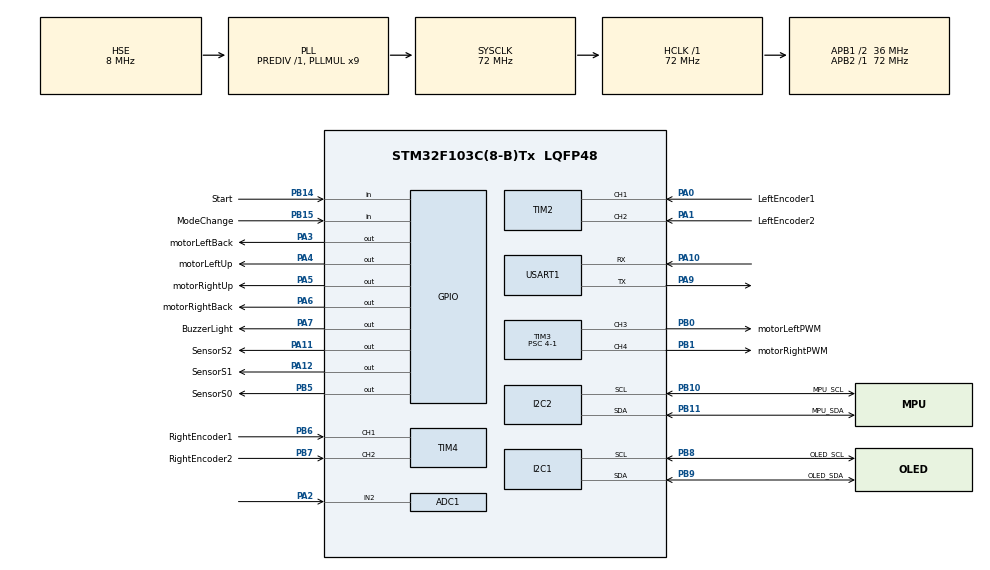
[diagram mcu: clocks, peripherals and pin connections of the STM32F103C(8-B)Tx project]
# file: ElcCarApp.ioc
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ADC1.Channel-1\#ChannelRegularConversion=ADC_CHANNEL_2
ADC1.NbrOfConversionFlag=1
ADC1.Rank-1\#ChannelRegularConversion=1
ADC1.SamplingTime-1\#ChannelRegularConversion=ADC_SAMPLETIME_71CYCLES_5
ADC1.master=1
Mcu.Family=STM32F1
Mcu.Name=STM32F103C(8-B)Tx
Mcu.Package=LQFP48
NVIC.PriorityGroup=NVIC_PRIORITYGROUP_4
NVIC.TIM3_IRQn=true\:0\:0\:false\:false\:true\:true\:true\:true
NVIC.USART1_IRQn=true\:1\:0\:false\:false\:true\:true\:true\:true
PA0-WKUP.GPIO_Label=LeftEncoder1
PA0-WKUP.Signal=S_TIM2_CH1_ETR
PA1.GPIO_Label=LeftEncoder2
PA1.Signal=S_TIM2_CH2
PA10.Mode=Asynchronous
PA10.Signal=USART1_RX
PA11.GPIO_Label=SensorS2
PA11.Signal=GPIO_Output
PA12.GPIO_Label=SensorS1
PA12.Signal=GPIO_Output
PA13.Mode=Serial_Wire
PA13.Signal=SYS_JTMS-SWDIO
PA14.Mode=Serial_Wire
PA14.Signal=SYS_JTCK-SWCLK
PA2.Signal=ADCx_IN2
PA3.GPIO_Label=motorLeftBack
PA3.Signal=GPIO_Output
PA4.GPIO_Label=motorLeftUp
PA4.Signal=GPIO_Output
PA5.GPIO_Label=motorRightUp
PA5.Signal=GPIO_Output
PA6.GPIO_Label=motorRightBack
PA6.Signal=GPIO_Output
PA7.GPIO_Label=BuzzerLight
PA7.PinState=GPIO_PIN_SET
PA7.Signal=GPIO_Output
PA9.Mode=Asynchronous
PA9.Signal=USART1_TX
PB0.GPIO_Label=motorLeftPWM
PB0.Signal=S_TIM3_CH3
PB1.GPIO_Label=motorRightPWM
PB1.Signal=S_TIM3_CH4
PB10.GPIO_Label=MPU_SCL
PB10.Mode=I2C
PB10.Signal=I2C2_SCL
PB11.GPIO_Label=MPU_SDA
PB11.Mode=I2C
PB11.Signal=I2C2_SDA
PB14.GPIO_Label=Start
PB14.GPIO_PuPd=GPIO_PULLUP
PB14.Signal=GPIO_Input
PB15.GPIO_Label=ModeChange
PB15.GPIO_PuPd=GPIO_PULLUP
PB15.Signal=GPIO_Input
PB5.GPIO_Label=SensorS0
PB5.Signal=GPIO_Output
PB6.GPIO_Label=RightEncoder1
PB6.Signal=S_TIM4_CH1
PB7.GPIO_Label=RightEncoder2
PB7.Signal=S_TIM4_CH2
PB8.GPIO_Label=OLED_SCL
PB8.Mode=I2C
PB8.Signal=I2C1_SCL
PB9.GPIO_Label=OLED_SDA
PB9.Mode=I2C
PB9.Signal=I2C1_SDA
PD0-OSC_IN.Mode=HSE-External-Oscillator
PD0-OSC_IN.Signal=RCC_OSC_IN
PD1-OSC_OUT.Mode=HSE-External-Oscillator
PD1-OSC_OUT.Signal=RCC_OSC_OUT
ProjectManager.HeapSize=0x200
ProjectManager.StackSize=0x1000
ProjectManager.TargetToolchain=MDK-ARM V5
RCC.ADCPresc=RCC_ADCPCLK2_DIV6
RCC.AHBFreq_Value=72000000
RCC.APB1CLKDivider=RCC_HCLK_DIV2
RCC.APB1Freq_Value=36000000
RCC.APB1TimFreq_Value=72000000
RCC.APB2Freq_Value=72000000
RCC.APB2TimFreq_Value=72000000
RCC.HCLKFreq_Value=72000000
RCC.PLLMUL=RCC_PLL_MUL9
RCC.PLLSourceVirtual=RCC_PLLSOURCE_HSE
RCC.SYSCLKFreq_VALUE=72000000
RCC.SYSCLKSource=RCC_SYSCLKSOURCE_PLLCLK
RCC.USBFreq_Value=72000000
SH.ADCx_IN2.0=ADC1_IN2,IN2
SH.S_TIM2_CH1_ETR.0=TIM2_CH1,Encoder_Interface
SH.S_TIM2_CH2.0=TIM2_CH2,Encoder_Interface
SH.S_TIM3_CH3.0=TIM3_CH3,PWM Generation3 CH3
SH.S_TIM3_CH4.0=TIM3_CH4,PWM Generation4 CH4
SH.S_TIM4_CH1.0=TIM4_CH1,Encoder_Interface
SH.S_TIM4_CH2.0=TIM4_CH2,Encoder_Interface
TIM2.EncoderMode=TIM_ENCODERMODE_TI12
TIM3.Channel-PWM\ Generation3\ CH3=TIM_CHANNEL_3
TIM3.Channel-PWM\ Generation4\ CH4=TIM_CHANNEL_4
TIM3.Period=999
TIM3.Prescaler=4-1
TIM4.EncoderMode=TIM_ENCODERMODE_TI12
USART1.VirtualMode=VM_ASYNC
VP_TIM3_VS_ClockSourceINT.Mode=Internal
board=custom

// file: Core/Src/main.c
/* USER CODE BEGIN Header */
/**
  ******************************************************************************
  * @file           : main.c
  * @brief          : Main program body
  ******************************************************************************
  * @attention
  *
  * Copyright (c) 2026 STMicroelectronics.
  * All rights reserved.
  *
  * This software is licensed under terms that can be found in the LICENSE file
  * in the root directory of this software component.
  * If no LICENSE file comes with this software, it is provided AS-IS.
  *
  ******************************************************************************
  */
/* USER CODE END Header */
#include "main.h"
#include "adc.h"
#include "i2c.h"
#include "tim.h"
#include "usart.h"
#include "gpio.h"

/* USER CODE BEGIN Includes */
#include "fsm.h"
#include "oled.h"
#include "string.h"
#include "control.h"
#include "autotune.h"
#include "serial_router.h"
#include "route_config.h"
#include <stdio.h>
#ifdef CAR_IMU_TEST
#include "imu_diagnostic.h"
#endif
#ifdef CAR_GROUND_TEST
#include "ground_test.h"
#include "line_follow.h"
#include "wheel_calibration.h"
#endif
/* USER CODE END Includes */

void SystemClock_Config(void);

/* USER CODE BEGIN 0 */
#ifdef CAR_IMU_TEST
static void Imu_Test_Run(void)
{
  uint32_t display_tick = 0u;
  Motor_Init(); Control_Stop(); OLED_Init();
  ImuDiagnostic_Init(&hi2c2);
  while (1) {
    ImuDiagnostic_Poll(&hi2c2);
    if (HAL_GetTick() - display_tick >= 200u) {
      char text[24];
      display_tick = HAL_GetTick();
      OLED_NewFrame();
      if (imu_diagnostic.state == 2u) snprintf(text, sizeof text, "IMU MOTOR LOCK");
      else snprintf(text, sizeof text, "IMU FAULT:%lu", (unsigned long)imu_diagnostic.error);
      OLED_PrintString(0, 0, text, &font16x16, OLED_COLOR_NORMAL);
      for (unsigned axis = 0; axis < 3u; ++axis) {
        snprintf(text, sizeof text, "%c:%+.1f DEG", (int)('X' + axis), (double)imu_diagnostic.angle[axis]);
        OLED_PrintString(0, (uint8_t)(16u * (axis + 1u)), text, &font16x16, OLED_COLOR_NORMAL);
      }
      OLED_ShowFrame();
    }
    OLED_Poll();
  }
}
#endif
#ifdef CAR_GROUND_TEST
static void Ground_Run(void)
{
  uint32_t display_tick = 0u;
  const char *labels[] = {"GROUND READY", "WAIT 3 SEC", "RUN STRAIGHT", "STOPPING", "DONE STOP", "CANCEL STOP", "FAULT STOP"};
  Motor_Init();
  OLED_Init();
  Ground_Init();
  Control_StartTimer();
  while (1) {
    Ground_Heartbeat();
    if (HAL_GetTick() - display_tick >= 200u) {
      GroundResult r;
      ControlView v;
      char text[24];
      uint32_t saved = __get_PRIMASK();
      __disable_irq();
      r = ground_result;
      __set_PRIMASK(saved);
      display_tick = HAL_GetTick();
      Control_ReadView(&v);
      OLED_NewFrame();
#ifdef CAR_GROUND_LINE
      if (r.state == GROUND_READY) {
        LineFrame f = Line_Describe((uint8_t)ground_ir.raw_levels, (uint8_t)ground_ir.levels, ground_ir.valid, ground_ir.noisy, ground_ir.tick_ms);
        char *status = !ground_ir_direction ? "LINE MAP CHECK" : !f.valid ? "IR WARMUP" : f.noisy ? "IR NOISY" :
                       !f.raw_black ? "NEED BLACK LINE" : f.raw_black > 4u ? "LINE TOO WIDE" :
                       Line_Trackable(&f, HAL_GetTick(), 0) ? "LINE READY" : "WAIT IR STABLE";
        OLED_PrintString(0, 0, status, &font16x16, OLED_COLOR_NORMAL);
      } else if (r.state == GROUND_RUNNING)
        OLED_PrintString(0, 0, "RUN LINE", &font16x16, OLED_COLOR_NORMAL);
      else
#endif
      OLED_PrintString(0, 0, (char *)labels[r.state <= GROUND_FAULT ? r.state : GROUND_FAULT], &font16x16, OLED_COLOR_NORMAL);
      if (r.state == GROUND_READY) snprintf(text, sizeof text, "HOLD START 1S");
      else {
        float target = .5f * (Wheel_CountsToRPM(v.target_l, CAR_WHEEL_CPR_LEFT) + Wheel_CountsToRPM(v.target_r, CAR_WHEEL_CPR_RIGHT));
        snprintf(text, sizeof text, "RPM:%u MODE:STOP", (unsigned)(target + .5f));
      }
#ifdef CAR_GROUND_LINE
      if (r.state == GROUND_READY) {
        memcpy(text, "R:11111111 N:0", 15);
        for (unsigned i = 0; i < 8; ++i) text[2+i] = !IR_CHANNEL_ENABLED(i) ? '-' : (ground_ir.raw_levels & (1u << i)) ? '1' : '0';
        text[13] = ground_ir.noisy ? '1' : '0';
      }
#endif
      OLED_PrintString(0, 16, text, &font16x16, OLED_COLOR_NORMAL);
      snprintf(text, sizeof text, "T:%lu N:%lu", (unsigned long)r.elapsed_ms, (unsigned long)r.count);
#ifdef CAR_GROUND_LINE
      memcpy(text, "IR:11111111", 12);
      for (unsigned i = 0; i < 8; ++i) text[3+i] = ground_ir.valid ? ((ground_ir.levels & (1u << i)) ? '1' : '0') : '?';
#endif
      OLED_PrintString(0, 32, text, &font16x16, OLED_COLOR_NORMAL);
      snprintf(text, sizeof text, "F:%lu Q:%lu", (unsigned long)r.reason, (unsigned long)v.quiet_ticks);
      OLED_PrintString(0, 48, text, &font16x16, OLED_COLOR_NORMAL);
#ifndef CAR_GROUND_LINE
      if (r.state == GROUND_READY) {
        snprintf(text, sizeof text, "HEAD READY X+");
        OLED_PrintString(0, 32, text, &font16x16, OLED_COLOR_NORMAL);
      }
      if (r.state >= GROUND_DONE && ground_motion_stats.ticks) {
        GroundMotionStats stats;
        saved = __get_PRIMASK(); __disable_irq();
        stats = ground_motion_stats; __set_PRIMASK(saved);
        if (stats.period_us) {
          float rpm_l = (float)stats.counts_l * 60000000.0f / ((float)CAR_WHEEL_CPR_LEFT * (float)stats.period_us);
          float rpm_r = (float)stats.counts_r * 60000000.0f / ((float)CAR_WHEEL_CPR_RIGHT * (float)stats.period_us);
          OLED_NewFrame();
          if (r.state == GROUND_DONE) {
            snprintf(text, sizeof text, "DONE H:%+.1f", (double)Ground_HeadingError());
            OLED_PrintString(0, 0, text, &font16x16, OLED_COLOR_NORMAL);
          } else OLED_PrintString(0, 0, (char *)labels[r.state <= GROUND_FAULT ? r.state : GROUND_FAULT], &font16x16, OLED_COLOR_NORMAL);
          snprintf(text, sizeof text, "L:%.1f R:%.1f", (double)rpm_l, (double)rpm_r);
          OLED_PrintString(0, 16, text, &font16x16, OLED_COLOR_NORMAL);
          snprintf(text, sizeof text, "PWM:%lu/%lu", (unsigned long)(stats.pwm_sum_l / stats.ticks),
              (unsigned long)(stats.pwm_sum_r / stats.ticks));
          OLED_PrintString(0, 32, text, &font16x16, OLED_COLOR_NORMAL);
          snprintf(text, sizeof text, "C:%lu/%lu F:%lu", (unsigned long)(100u * stats.capped_l / stats.ticks),
              (unsigned long)(100u * stats.capped_r / stats.ticks), (unsigned long)r.reason);
          OLED_PrintString(0, 48, text, &font16x16, OLED_COLOR_NORMAL);
        }
      }
#endif
      OLED_ShowFrame();
    }
    OLED_Poll();
  }
}
#endif
#ifdef CAR_IR_TEST
/* Standalone PA2 ADC test: no FSM, IMU, serial commands or control timer. */
volatile uint8_t ir_test_levels[8];
volatile uint8_t ir_test_raw[8];
volatile uint16_t ir_test_adc[8], ir_test_mv[8];
volatile uint8_t ir_test_valid_mask;
volatile uint32_t ir_test_adc_errors, ir_test_adc_ready;
/* Nominal VDDA reference; reported voltage is not a calibrated voltmeter. */
const uint32_t ir_test_reference_mv = 3300u;
const uint32_t ir_test_threshold_mv = 1900u;
volatile uint8_t ir_test_changed;
volatile uint32_t ir_test_frames, ir_test_select_errors;
static uint8_t IR_Test_ReadADC(uint16_t *value)
{
  if (HAL_ADC_Start(&hadc1) != HAL_OK) {
    HAL_ADC_Stop(&hadc1);
    return 0u;
  }
  if (HAL_ADC_PollForConversion(&hadc1, 2u) != HAL_OK) {
    HAL_ADC_Stop(&hadc1);
    return 0u;
  }
  *value = (uint16_t)HAL_ADC_GetValue(&hadc1);
  return HAL_ADC_Stop(&hadc1) == HAL_OK;
}
static void IR_Test_Run(void)
{
  GPIO_InitTypeDef input = {0};
  ADC_ChannelConfTypeDef channel = {0};
  char bits[9] = "11111111", text[24];
  uint32_t display_tick = 0;
  uint8_t previous[8] = {0};
  input.Pin = GPIO_PIN_2;
  input.Mode = GPIO_MODE_ANALOG;
  input.Pull = GPIO_NOPULL;
  HAL_GPIO_Init(GPIOA, &input);
  Motor_EmergencyStop();
  OLED_Init();
  channel.Channel = ADC_CHANNEL_2;
  channel.Rank = ADC_REGULAR_RANK_1;
  channel.SamplingTime = ADC_SAMPLETIME_239CYCLES_5;
  ir_test_adc_ready = HAL_ADC_ConfigChannel(&hadc1, &channel) == HAL_OK &&
                      HAL_ADCEx_Calibration_Start(&hadc1) == HAL_OK;
  while (1) {
    for (unsigned i = 0; i < 8; ++i) {
      if (!IR_CHANNEL_ENABLED(i)) {
        ir_test_adc[i] = ir_test_mv[i] = 0xffffu;
        ir_test_raw[i] = ir_test_levels[i] = 0u;
        bits[i] = '-';
        continue;
      }
      HAL_GPIO_WritePin(GPIOB, GPIO_PIN_5, (i & 1u) ? GPIO_PIN_SET : GPIO_PIN_RESET);
      HAL_GPIO_WritePin(GPIOA, GPIO_PIN_12, (i & 2u) ? GPIO_PIN_SET : GPIO_PIN_RESET);
      HAL_GPIO_WritePin(GPIOA, GPIO_PIN_11, (i & 4u) ? GPIO_PIN_SET : GPIO_PIN_RESET);
      /* Slow diagnostic scan; keep display transfers progressing while held. */
      uint32_t selected_at = HAL_GetTick();
      while (HAL_GetTick() - selected_at < 100u) OLED_Poll();
      unsigned selected = (HAL_GPIO_ReadPin(GPIOB, GPIO_PIN_5) ? 1u : 0u)
        | (HAL_GPIO_ReadPin(GPIOA, GPIO_PIN_12) ? 2u : 0u)
        | (HAL_GPIO_ReadPin(GPIOA, GPIO_PIN_11) ? 4u : 0u);
      if (selected != i) ++ir_test_select_errors;
      uint16_t counts = 0u;
      /* Discard the first conversion after switching the analog mux. */
      if (!ir_test_adc_ready || !IR_Test_ReadADC(&counts) || !IR_Test_ReadADC(&counts)) {
        ++ir_test_adc_errors;
        ir_test_valid_mask &= (uint8_t)~(1u << i);
        ir_test_adc[i] = ir_test_mv[i] = 0xffffu;
        ir_test_raw[i] = ir_test_levels[i] = 0u;
        bits[i] = '?';
        continue;
      }
      ir_test_valid_mask |= (uint8_t)(1u << i);
      ir_test_adc[i] = counts;
      ir_test_mv[i] = (uint16_t)(((uint32_t)counts * ir_test_reference_mv + 2047u) / 4095u);
      /* Compare before rounding: strictly greater than the threshold is 1. */
      ir_test_raw[i] = (uint32_t)counts * ir_test_reference_mv > ir_test_threshold_mv * 4095u;
      ir_test_levels[i] = ir_test_raw[i];
      bits[i] = ir_test_levels[i] ? '1' : '0';
      if (ir_test_frames && previous[i] != ir_test_levels[i]) ir_test_changed |= (uint8_t)(1u << i);
      previous[i] = ir_test_levels[i];
      OLED_Poll();
    }
    ++ir_test_frames;
    if (HAL_GetTick() - display_tick >= 200u) {
      display_tick = HAL_GetTick();
      OLED_NewFrame();
      OLED_PrintString(0, 0, "ADC 1.9V STOP", &font16x16, OLED_COLOR_NORMAL);
      OLED_PrintString(0, 16, "CH:12345678", &font16x16, OLED_COLOR_NORMAL);
      snprintf(text, sizeof text, "IN:%s", bits);
      OLED_PrintString(0, 32, text, &font16x16, OLED_COLOR_NORMAL);
      snprintf(text, sizeof text, "T:%02X E:%lu", (unsigned)ir_test_changed,
               (unsigned long)(ir_test_select_errors + ir_test_adc_errors));
      OLED_PrintString(0, 48, text, &font16x16, OLED_COLOR_NORMAL);
      OLED_ShowFrame();
    }
    OLED_Poll();
  }
}
#endif

/* USER CODE END 0 */

int main(void)
{

  /* MCU Configuration--------------------------------------------------------*/

  /* Reset of all peripherals, Initializes the Flash interface and the Systick. */
  HAL_Init();

  /* Configure the system clock */
  SystemClock_Config();

  /* Initialize all configured peripherals */
  MX_GPIO_Init();
  MX_TIM3_Init();
  MX_I2C1_Init();
  MX_I2C2_Init();
  MX_USART1_UART_Init();
  MX_ADC1_Init();
  MX_TIM2_Init();
  MX_TIM4_Init();
  /* USER CODE BEGIN 2 */
#ifdef CAR_IMU_TEST
  Imu_Test_Run();
#endif
#ifdef CAR_GROUND_TEST
  Ground_Run();
#endif
#ifdef CAR_IR_TEST
  IR_Test_Run();
#endif
  Autotune_SelectBootMode();
  if (HAL_ADCEx_Calibration_Start(&hadc1) != HAL_OK) Error_Handler();
  if (Autotune_IsEnabled()) Motor_Init();
  else {
    OLED_Init();
    Car_System_Init();
  }
  Control_StartTimer();
  if (Autotune_IsEnabled()) Autotune_Init();
  uint32_t tick_10ms = HAL_GetTick();
  uint32_t tick_100ms = tick_10ms;
  uint32_t tick_1s = tick_10ms;
  /* USER CODE END 2 */

  /* Infinite loop */
  /* USER CODE BEGIN WHILE */
  while (1)
  {
    uint32_t now = HAL_GetTick();
    Serial_Poll();
    if (Autotune_IsEnabled()) {
      Autotune_Poll();
    } else {
      FSM_KeyScan();
      if (now - tick_10ms >= CONTROL_PERIOD_MS) {
        tick_10ms = now;
        FSM_ControlLoop_10ms(); /* Foreground sensors/route; PWM runs on TIM1. */
      }
      if (now - tick_100ms >= 200u) {
        tick_100ms = now;
        FSM_OLED_Update();
      }
      if (now - tick_1s >= 1000u) {
        tick_1s = now;
        FSM_Timer1s_Tick();
      }
      OLED_Poll(); /* One page command or 16-byte data chunk per iteration. */
    }
  }
  /* USER CODE END WHILE */

}

void SystemClock_Config(void)
{
  RCC_OscInitTypeDef RCC_OscInitStruct = {0};
  RCC_ClkInitTypeDef RCC_ClkInitStruct = {0};
  RCC_PeriphCLKInitTypeDef PeriphClkInit = {0};

  /** Initializes the RCC Oscillators according to the specified parameters
  * in the RCC_OscInitTypeDef structure.
  */
  RCC_OscInitStruct.OscillatorType = RCC_OSCILLATORTYPE_HSE;
  RCC_OscInitStruct.HSEState = RCC_HSE_ON;
  RCC_OscInitStruct.HSEPredivValue = RCC_HSE_PREDIV_DIV1;
  RCC_OscInitStruct.HSIState = RCC_HSI_ON;
  RCC_OscInitStruct.PLL.PLLState = RCC_PLL_ON;
  RCC_OscInitStruct.PLL.PLLSource = RCC_PLLSOURCE_HSE;
  RCC_OscInitStruct.PLL.PLLMUL = RCC_PLL_MUL9;
  if (HAL_RCC_OscConfig(&RCC_OscInitStruct) != HAL_OK)
  {
    Error_Handler();
  }

  /** Initializes the CPU, AHB and APB buses clocks
  */
  RCC_ClkInitStruct.ClockType = RCC_CLOCKTYPE_HCLK|RCC_CLOCKTYPE_SYSCLK
                              |RCC_CLOCKTYPE_PCLK1|RCC_CLOCKTYPE_PCLK2;
  RCC_ClkInitStruct.SYSCLKSource = RCC_SYSCLKSOURCE_PLLCLK;
  RCC_ClkInitStruct.AHBCLKDivider = RCC_SYSCLK_DIV1;
  RCC_ClkInitStruct.APB1CLKDivider = RCC_HCLK_DIV2;
  RCC_ClkInitStruct.APB2CLKDivider = RCC_HCLK_DIV1;

  if (HAL_RCC_ClockConfig(&RCC_ClkInitStruct, FLASH_LATENCY_2) != HAL_OK)
  {
    Error_Handler();
  }
  PeriphClkInit.PeriphClockSelection = RCC_PERIPHCLK_ADC;
  PeriphClkInit.AdcClockSelection = RCC_ADCPCLK2_DIV6;
  if (HAL_RCCEx_PeriphCLKConfig(&PeriphClkInit) != HAL_OK)
  {
    Error_Handler();
  }
}

void Error_Handler(void)
{
  /* USER CODE BEGIN Error_Handler_Debug */
  /* User can add his own implementation to report the HAL error return state */
  __disable_irq();
  Motor_EmergencyStop();
  /* 错误指示: LED 快速闪烁 (PA7 低电平导通) */
  while (1) {
    HAL_GPIO_TogglePin(GPIOA, GPIO_PIN_7);
    for (volatile uint32_t i = 0; i < 200000; i++);
  }
  /* USER CODE END Error_Handler_Debug */
}
